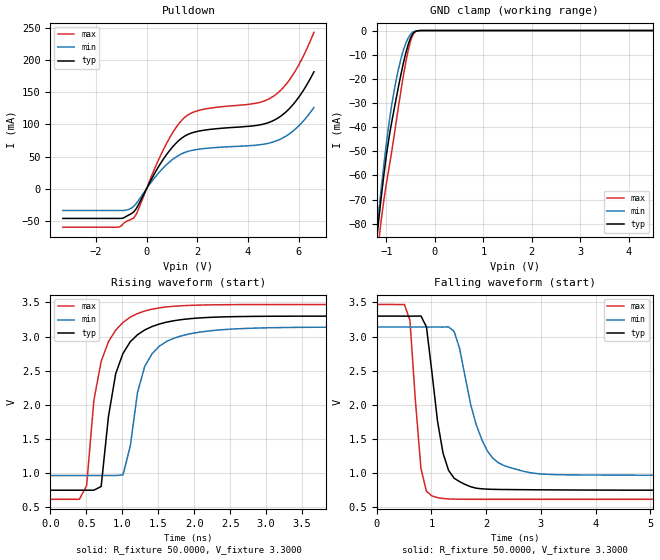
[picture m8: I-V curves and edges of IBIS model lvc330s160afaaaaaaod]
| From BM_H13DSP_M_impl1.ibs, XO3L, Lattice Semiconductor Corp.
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[Model]   lvc330s160afaaaaaaod
Model_type   I/O_open_drain
Polarity   Non-Inverting
Enable   Active-Low
Vinl =   0.8000V
Vinh =   2.0000V
Vmeas =   1.6500V
Cref =   0.0F
Rref =   1.0000M
Vref =   0.0V
C_comp   4.2000pF   3.8000pF   7.5000pF
[Temperature Range]   25.0000   0.1250k   -40.0000
[Voltage Range]   3.3000V   3.1400V   3.4700V
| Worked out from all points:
|   slope of the pulldown table from 0 to 0.495 V, typ, clamps not added: 13.9 ohm
|   GND clamp passes 1 mA (typ) near -0.44 V on its own axis
|   rising waveform, R_fixture 50.0000, V_fixture 3.3000: 20-80 % time 280ps typ, 278ps min, 264ps max; typ from 0.752 V to 3.3 V
|   falling waveform, R_fixture 50.0000, V_fixture 3.3000: 20-80 % time 263ps typ, 432ps min, 160ps max; typ from 3.3 V to 0.752 V
[Pulldown]
|Voltage   I(typ)   I(min)   I(max)
-3.3V     -46.05mA   -33.74mA   -59.55mA
-1.1V     -46.05mA   -33.74mA   -59.55mA
-500mV    -35.8mA    -27.15mA   -45.23mA
600mV     42.17mA    29.94mA    55.58mA
1V        63.65mA    44.54mA    85.02mA
1.4V      78.94mA    54.52mA    106.7mA
2.1V      89.73mA    61.59mA    122mA
4.3V      98.06mA    67.59mA    132.6mA
5V        105.8mA    72.7mA     143.4mA
5.4V      115.9mA    79.45mA    157.3mA
5.8V      131.7mA    90.34mA    178.6mA
6.6V      181.5mA    126.2mA    242.7mA
[GND_clamp]
|Voltage   I(typ)   I(min)   I(max)
-3.3V     -955.3mA   -930.3mA   -978mA
-1.2V     -86.18mA   -82.93mA   -94.91mA
-1.15V    -76.73mA   -73.29mA   -85.74mA
-1.1V     -67.71mA   -63.95mA   -77.28mA
-1V       -51.52mA   -46.57mA   -63.21mA
-900mV    -38.87mA   -31.88mA   -51.26mA
-800mV    -28.25mA   -20.58mA   -37.97mA
-700mV    -18.1mA    -11.63mA   -24.81mA
-600mV    -9.267mA   -5.265mA   -13.06mA
-450mV    -1.181mA   -586.6uA   -1.592mA
-250mV    -3.532uA   -4.055uA   -3.003uA
6.6V      0A         0A         0A
[Ramp]
| variable   typ   min   max
dV/dt_r  1.5290/0.2772n   1.3043/0.2754n   1.7112/0.2616n
dV/dt_f  1.5290/0.2604n   1.3043/0.4282n   1.7112/0.1589n
R_load = 50.0000
[Rising Waveform]
R_fixture=   50.0000
V_fixture=   3.3000
V_fixture_min=   3.1400
V_fixture_max=   3.4700
|time   V(typ)   V(min)   V(max)
0s        751.6mV    966.1mV    618mV
505.1ps   751.7mV    966.1mV    818.6mV
606.1ps   751.9mV    966.1mV    2.07V
707.1ps   805.9mV    966.1mV    2.636V
808.1ps   1.827V     966.4mV    2.925V
1.01ns    2.753V     975.3mV    3.207V
1.313ns   3.097V     2.565V     3.375V
1.717ns   3.232V     2.976V     3.444V
2.525ns   3.292V     3.11V      3.468V
10ns      3.3V       3.14V      3.47V
[Falling Waveform]
R_fixture=   50.0000
V_fixture=   3.3000
V_fixture_min=   3.1400
V_fixture_max=   3.4700
|time   V(typ)   V(min)   V(max)
0s        3.3V       3.14V      3.47V
606.1ps   3.299V     3.14V      3.243V
808.1ps   3.301V     3.14V      1.068V
909.1ps   3.142V     3.139V     736.3mV
1.01ns    2.469V     3.14V      667.8mV
1.111ns   1.762V     3.14V      642.4mV
1.313ns   1.042V     3.143V     624.1mV
1.919ns   772mV      1.496V     618.1mV
2.424ns   760.8mV    1.087V     618mV
10ns      751.7mV    966.1mV    617.9mV
